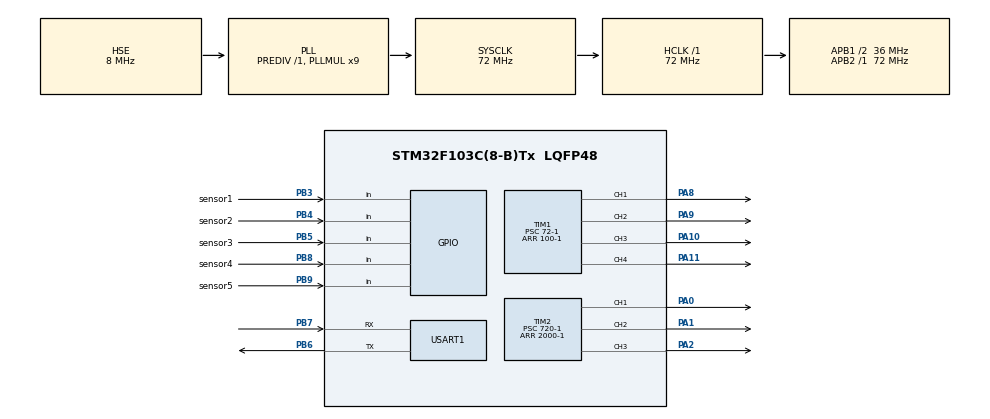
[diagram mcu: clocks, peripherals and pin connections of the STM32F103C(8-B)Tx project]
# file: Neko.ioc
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Mcu.Family=STM32F1
Mcu.Name=STM32F103C(8-B)Tx
Mcu.Package=LQFP48
NVIC.PriorityGroup=NVIC_PRIORITYGROUP_4
NVIC.TIM3_IRQn=true\:0\:0\:false\:false\:true\:true\:true\:true
PA0-WKUP.Signal=S_TIM2_CH1_ETR
PA1.Signal=S_TIM2_CH2
PA10.Signal=S_TIM1_CH3
PA11.Signal=S_TIM1_CH4
PA13.Mode=Serial_Wire
PA13.Signal=SYS_JTMS-SWDIO
PA14.Mode=Serial_Wire
PA14.Signal=SYS_JTCK-SWCLK
PA2.Signal=S_TIM2_CH3
PA8.Signal=S_TIM1_CH1
PA9.Signal=S_TIM1_CH2
PB3.GPIO_Label=sensor1
PB3.GPIO_PuPd=GPIO_NOPULL
PB3.Signal=GPIO_Input
PB4.GPIO_Label=sensor2
PB4.GPIO_PuPd=GPIO_NOPULL
PB4.Signal=GPIO_Input
PB5.GPIO_Label=sensor3
PB5.GPIO_PuPd=GPIO_NOPULL
PB5.Signal=GPIO_Input
PB6.Mode=Asynchronous
PB6.Signal=USART1_TX
PB7.Mode=Asynchronous
PB7.Signal=USART1_RX
PB8.GPIO_Label=sensor4
PB8.GPIO_PuPd=GPIO_NOPULL
PB8.Signal=GPIO_Input
PB9.GPIO_Label=sensor5
PB9.GPIO_Mode=GPIO_MODE_INPUT
PB9.GPIO_PuPd=GPIO_NOPULL
PB9.Signal=GPIO_Input
PD0-OSC_IN.Mode=HSE-External-Oscillator
PD0-OSC_IN.Signal=RCC_OSC_IN
PD1-OSC_OUT.Mode=HSE-External-Oscillator
PD1-OSC_OUT.Signal=RCC_OSC_OUT
ProjectManager.HeapSize=0x200
ProjectManager.StackSize=0x400
ProjectManager.TargetToolchain=STM32CubeIDE
RCC.AHBFreq_Value=72000000
RCC.APB1CLKDivider=RCC_HCLK_DIV2
RCC.APB1Freq_Value=36000000
RCC.APB1TimFreq_Value=72000000
RCC.APB2Freq_Value=72000000
RCC.APB2TimFreq_Value=72000000
RCC.HCLKFreq_Value=72000000
RCC.PLLMUL=RCC_PLL_MUL9
RCC.PLLSourceVirtual=RCC_PLLSOURCE_HSE
RCC.SYSCLKFreq_VALUE=72000000
RCC.SYSCLKSource=RCC_SYSCLKSOURCE_PLLCLK
RCC.USBFreq_Value=72000000
SH.S_TIM1_CH1.0=TIM1_CH1,PWM Generation1 CH1
SH.S_TIM1_CH2.0=TIM1_CH2,PWM Generation2 CH2
SH.S_TIM1_CH3.0=TIM1_CH3,PWM Generation3 CH3
SH.S_TIM1_CH4.0=TIM1_CH4,PWM Generation4 CH4
SH.S_TIM2_CH1_ETR.0=TIM2_CH1,PWM Generation1 CH1
SH.S_TIM2_CH2.0=TIM2_CH2,PWM Generation2 CH2
SH.S_TIM2_CH3.0=TIM2_CH3,PWM Generation3 CH3
TIM1.Channel-PWM\ Generation1\ CH1=TIM_CHANNEL_1
TIM1.Channel-PWM\ Generation2\ CH2=TIM_CHANNEL_2
TIM1.Channel-PWM\ Generation3\ CH3=TIM_CHANNEL_3
TIM1.Channel-PWM\ Generation4\ CH4=TIM_CHANNEL_4
TIM1.Period=100-1
TIM1.Prescaler=72-1
TIM2.Channel-PWM\ Generation1\ CH1=TIM_CHANNEL_1
TIM2.Channel-PWM\ Generation2\ CH2=TIM_CHANNEL_2
TIM2.Channel-PWM\ Generation3\ CH3=TIM_CHANNEL_3
TIM2.Period=2000-1
TIM2.Prescaler=720-1
TIM3.Period=20000-1
TIM3.Prescaler=7200-1
USART1.VirtualMode=VM_ASYNC
VP_TIM1_VS_ClockSourceINT.Mode=Internal
VP_TIM2_VS_ClockSourceINT.Mode=Internal
VP_TIM3_VS_ClockSourceINT.Mode=Internal
board=custom

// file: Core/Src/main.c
/* USER CODE BEGIN Header */
/**
  ******************************************************************************
  * @file           : main.c
  * @brief          : Main program body
  ******************************************************************************
  * @attention
  *
  * Copyright (c) 2024 STMicroelectronics.
  * All rights reserved.
  *
  * This software is licensed under terms that can be found in the LICENSE file
  * in the root directory of this software component.
  * If no LICENSE file comes with this software, it is provided AS-IS.
  *
  ******************************************************************************
  */
/* USER CODE END Header */
#include "main.h"
#include "tim.h"
#include "usart.h"
#include "gpio.h"
#include "stdio.h"
#include <string.h>

/* USER CODE BEGIN Includes */
#include "motor.h"
/* USER CODE END Includes */

/* USER CODE BEGIN PTD */
#define A_SPEED 61					// 71
#define B_SPEED 42						// 50
#define DELAY_NO 75
#define DELAY_SP 25
#define DELAY_DF 800
#define LEFT_SPD 50
#define RIGHT_SPD 40				// 若在右场，则将此处值 - 10
/* USER CODE END PTD */

/* USER CODE BEGIN PV */
int loop = 0;
/* USER CODE END PV */

void SystemClock_Config(void);

/* USER CODE BEGIN 0 */
void HAL_TIM_PeriodElapsedCallback(TIM_HandleTypeDef *htim){
		HAL_Delay(1000);
		  for(int b = 40;b <= 240;b ++){
			  __HAL_TIM_SET_COMPARE(&htim2, TIM_CHANNEL_2, b);
			  HAL_Delay(500);
		  }
		  HAL_Delay(1000);
		  for(int a = 240;a >= 50;a --){
		  		  __HAL_TIM_SET_COMPARE(&htim2, TIM_CHANNEL_1, a);
		  		  HAL_Delay(500);
		  	  }
		  HAL_Delay(1000);
		  for(int b = 240;b >= 150;b --){
		  		  __HAL_TIM_SET_COMPARE(&htim2, TIM_CHANNEL_2, b);
		  		  HAL_Delay(500);
		  	  }
		  HAL_Delay(3500);
		  for(int b = 150;b <= 240;b ++){
		  	  		  __HAL_TIM_SET_COMPARE(&htim2, TIM_CHANNEL_2, b);
		  	  		  HAL_Delay(500);
		  	  	  }
		  HAL_Delay(1000);
		  for(int a = 50;a <= 240;a ++){
		  		  __HAL_TIM_SET_COMPARE(&htim2, TIM_CHANNEL_1, a);
		  		  HAL_Delay(200);
		  	  }
}
/* USER CODE END 0 */

int main(void)
{

  /* MCU Configuration--------------------------------------------------------*/

  /* Reset of all peripherals, Initializes the Flash interface and the Systick. */
  HAL_Init();

  /* Configure the system clock */
  SystemClock_Config();

  /* USER CODE BEGIN SysInit */
  // HAL_TIM_Encoder_Start(&htim4, TIM_CHANNEL_ALL);
  /* USER CODE END SysInit */

  /* Initialize all configured peripherals */
  MX_GPIO_Init();
  MX_TIM2_Init();
  MX_TIM1_Init();
  MX_TIM3_Init();
  MX_USART1_UART_Init();
  /* USER CODE BEGIN 2 */
  HAL_TIM_PWM_Start(&htim2,  TIM_CHANNEL_1);
  HAL_TIM_PWM_Start(&htim2,  TIM_CHANNEL_2);
  HAL_TIM_PWM_Start(&htim2,  TIM_CHANNEL_3);
  HAL_TIM_PWM_Start(&htim1,  TIM_CHANNEL_1);
  HAL_TIM_PWM_Start(&htim1,  TIM_CHANNEL_2);
  HAL_TIM_PWM_Start(&htim1,  TIM_CHANNEL_3);
  HAL_TIM_PWM_Start(&htim1,  TIM_CHANNEL_4);

 // HAL_TIM_Base_Start_IT(&htim4);

  __HAL_TIM_SET_COMPARE(&htim2, TIM_CHANNEL_1, 240);		// 舵机A驱动代码，舵机占空比代数取值为40~250
  __HAL_TIM_SET_COMPARE(&htim2, TIM_CHANNEL_2, 150);		// 舵机B驱动代码
  __HAL_TIM_SET_COMPARE(&htim2, TIM_CHANNEL_3, 150);		// 舵机C驱动代码!!!

  HAL_Delay(1000);

  /* USER CODE END 2 */

  /* Infinite loop */
  /* USER CODE BEGIN WHILE */
  while (1)
  {
	  if ((HAL_GPIO_ReadPin(GPIOB,GPIO_PIN_8)==1)||(HAL_GPIO_ReadPin(GPIOB,GPIO_PIN_4)==1)){
	  			HAL_Delay(DELAY_SP);
	  			// 左、右侧入环
	  			if((HAL_GPIO_ReadPin(GPIOB,GPIO_PIN_8)==1)&&(HAL_GPIO_ReadPin(GPIOB,GPIO_PIN_8)==1)&&(loop == 0)){
	  				// loop = 1;
	  				HAL_Delay(DELAY_NO);
	  				A_Forward(A_SPEED);
	  				B_Forward(B_SPEED);
	  				__HAL_TIM_SET_COMPARE(&htim2, TIM_CHANNEL_3, 75);
	  			}else if((HAL_GPIO_ReadPin(GPIOB,GPIO_PIN_4)==1)&&(HAL_GPIO_ReadPin(GPIOB,GPIO_PIN_4)==1)&&(loop == 0)){
	  				// loop = 1;
	  				HAL_Delay(DELAY_NO);
	  				A_Forward(A_SPEED);
	  				B_Forward(B_SPEED);
	  				__HAL_TIM_SET_COMPARE(&htim2, TIM_CHANNEL_3, 225);
	  			}
	  		// 二阶段
	  			else if((HAL_GPIO_ReadPin(GPIOB,GPIO_PIN_5)==1)&&(HAL_GPIO_ReadPin(GPIOB,GPIO_PIN_4)==1)&&(loop == 1)){
	  				loop = 2;
	  			}else if((HAL_GPIO_ReadPin(GPIOB,GPIO_PIN_5)==1)&&(HAL_GPIO_ReadPin(GPIOB,GPIO_PIN_8)==1)&&(loop == 1)){
	  				loop = 2;
	  			// 差不多可以结束了
	  			}else if((HAL_GPIO_ReadPin(GPIOB,GPIO_PIN_5)==1)&&(HAL_GPIO_ReadPin(GPIOB,GPIO_PIN_4)==1)&&(loop == 2)){
	  				loop = 3;
	  				A_Forward(A_SPEED);
	  				B_Forward(B_SPEED);
	  			}else if((HAL_GPIO_ReadPin(GPIOB,GPIO_PIN_5)==1)&&(HAL_GPIO_ReadPin(GPIOB,GPIO_PIN_8)==1)&&(loop == 2)){
	  				loop = 3;
	  				A_Forward(A_SPEED);
	  				B_Forward(B_SPEED);
	  			}
	  			else{
	  				A_Forward(A_SPEED);
	  				B_Forward(B_SPEED);
	  				__HAL_TIM_SET_COMPARE(&htim2, TIM_CHANNEL_3, 150);
	  			}
	  		}
	  // 右转
  else if ((HAL_GPIO_ReadPin(GPIOB,GPIO_PIN_9)==1)&&(HAL_GPIO_ReadPin(GPIOB,GPIO_PIN_3)==0)&&(HAL_GPIO_ReadPin(GPIOB,GPIO_PIN_4)==0)){
	  HAL_Delay(DELAY_NO);
		if((HAL_GPIO_ReadPin(GPIOB,GPIO_PIN_9)==1)&&(HAL_GPIO_ReadPin(GPIOB,GPIO_PIN_8)==1)&&(HAL_GPIO_ReadPin(GPIOB,GPIO_PIN_5)==1)&&(HAL_GPIO_ReadPin(GPIOB,GPIO_PIN_4)==0)&&(HAL_GPIO_ReadPin(GPIOB,GPIO_PIN_3)==0)){
							for(int i = 100 ; i > 0 ; i --){
								A_Backward(i);
								B_Backward(i);
							}
							RIGHT(RIGHT_SPD);
							HAL_Delay(DELAY_DF);
							while(HAL_GPIO_ReadPin(GPIOB,GPIO_PIN_5) != 1){
								RIGHT(RIGHT_SPD);
							}
						}
		else if((HAL_GPIO_ReadPin(GPIOB,GPIO_PIN_9)==1)&&(HAL_GPIO_ReadPin(GPIOB,GPIO_PIN_5)==1)&&(HAL_GPIO_ReadPin(GPIOB,GPIO_PIN_4)==0)&& loop != 9){
			RIGHT_SPD - 15;
			__HAL_TIM_SET_COMPARE(&htim2, TIM_CHANNEL_3, 180);
			loop =9;
						}else if((HAL_GPIO_ReadPin(GPIOB,GPIO_PIN_9)==1)||(HAL_GPIO_ReadPin(GPIOB,GPIO_PIN_8)==1)){
							goto left;
						}
			HAL_Delay(DELAY_NO);
			if ((HAL_GPIO_ReadPin(GPIOB,GPIO_PIN_9)==1)&&(HAL_GPIO_ReadPin(GPIOB,GPIO_PIN_3)==0)&&(HAL_GPIO_ReadPin(GPIOB,GPIO_PIN_5)==1)&&(HAL_GPIO_ReadPin(GPIOB,GPIO_PIN_4)==0)){
				right:
		while(1)
		{
			RIGHT(RIGHT_SPD);
			switch(loop){
			case 0:__HAL_TIM_SET_COMPARE(&htim2, TIM_CHANNEL_3, 165);break;
			case 1:__HAL_TIM_SET_COMPARE(&htim2, TIM_CHANNEL_3, 140);break;
			case 2:__HAL_TIM_SET_COMPARE(&htim2, TIM_CHANNEL_3, 160);break;
			default:__HAL_TIM_SET_COMPARE(&htim2, TIM_CHANNEL_3, 165);break;
		}
			if((HAL_GPIO_ReadPin(GPIOB,GPIO_PIN_9)==0)&&(HAL_GPIO_ReadPin(GPIOB,GPIO_PIN_3)==0)){
				__HAL_TIM_SET_COMPARE(&htim2, TIM_CHANNEL_3, 150);
				break ;
			}else if((HAL_GPIO_ReadPin(GPIOB,GPIO_PIN_3)==1)){
				goto left;
			}
		}
			}else if(((HAL_GPIO_ReadPin(GPIOB,GPIO_PIN_9)==1)||(HAL_GPIO_ReadPin(GPIOB,GPIO_PIN_3)==1))){
				while(1){
				A_Forward(A_SPEED);
				B_Forward(B_SPEED);
				if((HAL_GPIO_ReadPin(GPIOB,GPIO_PIN_8)==1)){
					break;
				}
			}
			}else{
				A_Forward(A_SPEED);
				B_Forward(B_SPEED);
			}
		}
		// 左转
		else  if((HAL_GPIO_ReadPin(GPIOB,GPIO_PIN_9)==0)&&(HAL_GPIO_ReadPin(GPIOB,GPIO_PIN_8)==0)&&(HAL_GPIO_ReadPin(GPIOB,GPIO_PIN_3)==1)){
			HAL_Delay(DELAY_NO);
				if((HAL_GPIO_ReadPin(GPIOB,GPIO_PIN_9)==1)||(HAL_GPIO_ReadPin(GPIOB,GPIO_PIN_8)==1)){
								goto right;
							}
			else if((HAL_GPIO_ReadPin(GPIOB,GPIO_PIN_8)==0)&&(HAL_GPIO_ReadPin(GPIOB,GPIO_PIN_4)==1)&&(HAL_GPIO_ReadPin(GPIOB,GPIO_PIN_9)==0)&&(loop == 0)){
				  				// loop = 1;
				  				A_Forward(A_SPEED);
				  				B_Forward(B_SPEED);
				  				__HAL_TIM_SET_COMPARE(&htim2, TIM_CHANNEL_3, 75);
				  			}
			else if((HAL_GPIO_ReadPin(GPIOB,GPIO_PIN_9)==0)&&(HAL_GPIO_ReadPin(GPIOB,GPIO_PIN_5)==1)&&(HAL_GPIO_ReadPin(GPIOB,GPIO_PIN_4)==1)&&loop != 9){
				RIGHT_SPD - 15;
							__HAL_TIM_SET_COMPARE(&htim2, TIM_CHANNEL_3, 180);
							loop = 9;
										}
			HAL_Delay(DELAY_NO);
			if ((HAL_GPIO_ReadPin(GPIOB,GPIO_PIN_9)==0)&&(HAL_GPIO_ReadPin(GPIOB,GPIO_PIN_8)==0)&&(HAL_GPIO_ReadPin(GPIOB,GPIO_PIN_3)==1)){
				left:
		while(1)
		{
			LEFT(LEFT_SPD);
			switch(loop){
			case 0:__HAL_TIM_SET_COMPARE(&htim2, TIM_CHANNEL_3, 135);break;
			case 1:__HAL_TIM_SET_COMPARE(&htim2, TIM_CHANNEL_3, 160);break;
			case 2:__HAL_TIM_SET_COMPARE(&htim2, TIM_CHANNEL_3, 140);break;
			default:__HAL_TIM_SET_COMPARE(&htim2, TIM_CHANNEL_3, 135);break;
			HAL_Delay(500);
		}
		 if((HAL_GPIO_ReadPin(GPIOB,GPIO_PIN_9)==0)&&(HAL_GPIO_ReadPin(GPIOB,GPIO_PIN_3)==0)){
			 __HAL_TIM_SET_COMPARE(&htim2, TIM_CHANNEL_3, 150);
			 break ;
		 	}else if((HAL_GPIO_ReadPin(GPIOB,GPIO_PIN_9)==1)||(HAL_GPIO_ReadPin(GPIOB,GPIO_PIN_8)==1)){
				// goto right;
			}
		}
			}else if(((HAL_GPIO_ReadPin(GPIOB,GPIO_PIN_3)==1)||(HAL_GPIO_ReadPin(GPIOB,GPIO_PIN_9)==1))){
				while(1){
				A_Forward(A_SPEED);
				B_Forward(B_SPEED);
				if((HAL_GPIO_ReadPin(GPIOB,GPIO_PIN_4)==1)){
					break;
				}
			}
			}else{
				A_Forward(A_SPEED);
				B_Forward(B_SPEED);

			}
		}
		// T字与十字路口、出入环检查
	  	  // T左转
	/*	if((HAL_GPIO_ReadPin(GPIOB,GPIO_PIN_9)==0)&&(HAL_GPIO_ReadPin(GPIOB,GPIO_PIN_8)==0)&&(HAL_GPIO_ReadPin(GPIOB,GPIO_PIN_4)==1)&&(HAL_GPIO_ReadPin(GPIOB,GPIO_PIN_3)==1)){
					for(int i = 100 ; i > 0 ; i --){
						A_Backward(i);
						B_Backward(i);
					}
					LEFT(LEFT_SPD);
					loop = 9;
					HAL_Delay(DELAY_DF);
				}*/
		// T右转
		else if((HAL_GPIO_ReadPin(GPIOB,GPIO_PIN_9)==1)&&(HAL_GPIO_ReadPin(GPIOB,GPIO_PIN_8)==1)&&(HAL_GPIO_ReadPin(GPIOB,GPIO_PIN_4)==0)&&(HAL_GPIO_ReadPin(GPIOB,GPIO_PIN_3)==0)){
					for(int i = 100 ; i > 0 ; i --){
						A_Backward(i);
						B_Backward(i);
					}
					RIGHT(RIGHT_SPD);
					loop = 9;
					HAL_Delay(DELAY_DF);
				}
		// 直行
		else{
			A_Forward(A_SPEED);
			B_Forward(B_SPEED);
			__HAL_TIM_SET_COMPARE(&htim2, TIM_CHANNEL_3, 150);
		}

    /* USER CODE END WHILE */

  }
}

void SystemClock_Config(void)
{
  RCC_OscInitTypeDef RCC_OscInitStruct = {0};
  RCC_ClkInitTypeDef RCC_ClkInitStruct = {0};

  /** Initializes the RCC Oscillators according to the specified parameters
  * in the RCC_OscInitTypeDef structure.
  */
  RCC_OscInitStruct.OscillatorType = RCC_OSCILLATORTYPE_HSE;
  RCC_OscInitStruct.HSEState = RCC_HSE_ON;
  RCC_OscInitStruct.HSEPredivValue = RCC_HSE_PREDIV_DIV1;
  RCC_OscInitStruct.HSIState = RCC_HSI_ON;
  RCC_OscInitStruct.PLL.PLLState = RCC_PLL_ON;
  RCC_OscInitStruct.PLL.PLLSource = RCC_PLLSOURCE_HSE;
  RCC_OscInitStruct.PLL.PLLMUL = RCC_PLL_MUL9;
  if (HAL_RCC_OscConfig(&RCC_OscInitStruct) != HAL_OK)
  {
    Error_Handler();
  }

  /** Initializes the CPU, AHB and APB buses clocks
  */
  RCC_ClkInitStruct.ClockType = RCC_CLOCKTYPE_HCLK|RCC_CLOCKTYPE_SYSCLK
                              |RCC_CLOCKTYPE_PCLK1|RCC_CLOCKTYPE_PCLK2;
  RCC_ClkInitStruct.SYSCLKSource = RCC_SYSCLKSOURCE_PLLCLK;
  RCC_ClkInitStruct.AHBCLKDivider = RCC_SYSCLK_DIV1;
  RCC_ClkInitStruct.APB1CLKDivider = RCC_HCLK_DIV2;
  RCC_ClkInitStruct.APB2CLKDivider = RCC_HCLK_DIV1;

  if (HAL_RCC_ClockConfig(&RCC_ClkInitStruct, FLASH_LATENCY_2) != HAL_OK)
  {
    Error_Handler();
  }
}

void Error_Handler(void)
{
  __disable_irq();
  while (1)
  {
  }
}
